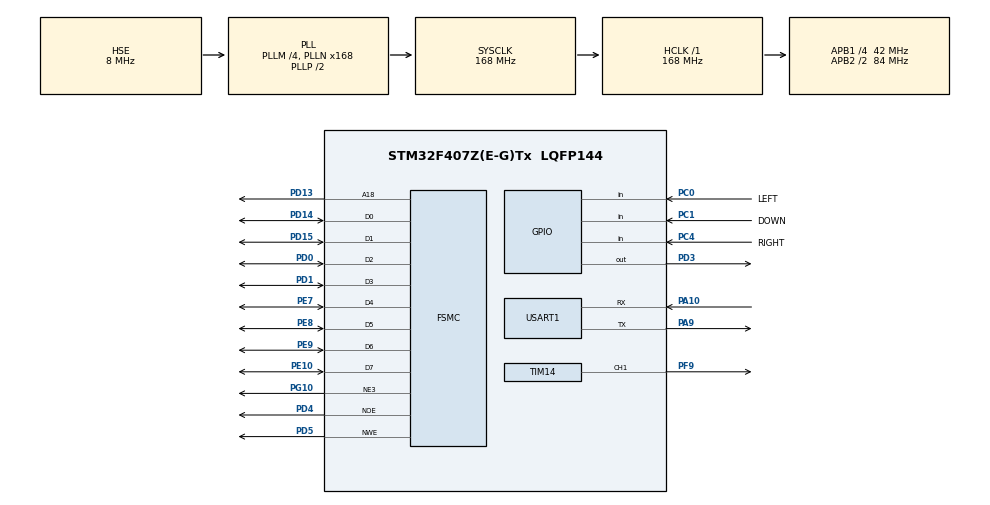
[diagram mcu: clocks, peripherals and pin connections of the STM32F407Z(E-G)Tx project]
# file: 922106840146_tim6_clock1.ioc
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FSMC.BusTurnAroundDuration3=0
FSMC.DataSetupTime3=60
FSMC.ExtendedAddressSetupTime3=9
FSMC.ExtendedBusTurnAroundDuration3=0
FSMC.ExtendedDataSetupTime3=8
FSMC.ExtendedMode3=FSMC_EXTENDED_MODE_ENABLE
Mcu.Family=STM32F4
Mcu.Name=STM32F407Z(E-G)Tx
Mcu.Package=LQFP144
NVIC.PriorityGroup=NVIC_PRIORITYGROUP_4
NVIC.TIM6_DAC_IRQn=true\:7\:0\:true\:false\:true\:true\:true\:true
NVIC.TIM7_IRQn=true\:7\:0\:true\:false\:true\:true\:true\:true
PA10.Mode=Asynchronous
PA10.Signal=USART1_RX
PA9.Mode=Asynchronous
PA9.Signal=USART1_TX
PC0.GPIO_Label=LEFT
PC0.GPIO_PuPd=GPIO_PULLUP
PC0.Signal=GPIO_Input
PC1.GPIO_Label=DOWN
PC1.GPIO_PuPd=GPIO_PULLUP
PC1.Signal=GPIO_Input
PC14-OSC32_IN.Mode=LSE-External-Oscillator
PC14-OSC32_IN.Signal=RCC_OSC32_IN
PC15-OSC32_OUT.Mode=LSE-External-Oscillator
PC15-OSC32_OUT.Signal=RCC_OSC32_OUT
PC4.GPIO_Label=RIGHT
PC4.GPIO_PuPd=GPIO_PULLUP
PC4.Signal=GPIO_Input
PD0.Signal=FSMC_D2_DA2
PD1.Signal=FSMC_D3_DA3
PD13.Signal=FSMC_A18
PD14.Signal=FSMC_D0_DA0
PD15.Signal=FSMC_D1_DA1
PD3.GPIO_ModeDefaultOutputPP=GPIO_MODE_OUTPUT_PP
PD3.GPIO_PuPd=GPIO_PULLUP
PD3.GPIO_Speed=GPIO_SPEED_FREQ_MEDIUM
PD3.PinState=GPIO_PIN_SET
PD3.Signal=GPIO_Output
PD4.Signal=FSMC_NOE
PD5.Signal=FSMC_NWE
PE10.Signal=FSMC_D7_DA7
PE7.Signal=FSMC_D4_DA4
PE8.Signal=FSMC_D5_DA5
PE9.Signal=FSMC_D6_DA6
PF9.Signal=S_TIM14_CH1
PG10.Mode=NorPsramChipSelect3_3
PG10.Signal=FSMC_NE3
PH0-OSC_IN.Mode=HSE-External-Oscillator
PH0-OSC_IN.Signal=RCC_OSC_IN
PH1-OSC_OUT.Mode=HSE-External-Oscillator
PH1-OSC_OUT.Signal=RCC_OSC_OUT
ProjectManager.HeapSize=0x200
ProjectManager.StackSize=0x400
ProjectManager.TargetToolchain=MDK-ARM V5.32
RCC.48MHZClocksFreq_Value=84000000
RCC.AHBFreq_Value=168000000
RCC.APB1CLKDivider=RCC_HCLK_DIV4
RCC.APB1Freq_Value=42000000
RCC.APB1TimFreq_Value=84000000
RCC.APB2CLKDivider=RCC_HCLK_DIV2
RCC.APB2Freq_Value=84000000
RCC.APB2TimFreq_Value=168000000
RCC.CortexFreq_Value=168000000
RCC.HCLKFreq_Value=168000000
RCC.HSE_VALUE=8000000
RCC.HSI_VALUE=16000000
RCC.PLLM=4
RCC.PLLN=168
RCC.PLLSourceVirtual=RCC_PLLSOURCE_HSE
RCC.SYSCLKFreq_VALUE=168000000
RCC.SYSCLKSource=RCC_SYSCLKSOURCE_PLLCLK
RCC.VCOOutputFreq_Value=336000000
SH.FSMC_A18.0=FSMC_A18,A18_3
SH.FSMC_D0_DA0.0=FSMC_D0,8b-d3
SH.FSMC_D1_DA1.0=FSMC_D1,8b-d3
SH.FSMC_D2_DA2.0=FSMC_D2,8b-d3
SH.FSMC_D3_DA3.0=FSMC_D3,8b-d3
SH.FSMC_D4_DA4.0=FSMC_D4,8b-d3
SH.FSMC_D5_DA5.0=FSMC_D5,8b-d3
SH.FSMC_D6_DA6.0=FSMC_D6,8b-d3
SH.FSMC_D7_DA7.0=FSMC_D7,8b-d3
SH.FSMC_NOE.0=FSMC_NOE,Lcd3
SH.FSMC_NWE.0=FSMC_NWE,Lcd3
SH.S_TIM14_CH1.0=TIM14_CH1,PWM Generation1 CH1
TIM14.Channel=TIM_CHANNEL_1
TIM14.Period=4000-1
TIM14.Prescaler=21-1
TIM14.Pulse=3200
TIM6.Period=10000-1
TIM6.Prescaler=8400-1
TIM7.Period=1000-1
TIM7.Prescaler=84-1
USART1.VirtualMode=VM_ASYNC
VP_TIM14_VS_ClockSourceINT.Mode=Enable_Timer
VP_TIM6_VS_ClockSourceINT.Mode=Enable_Timer
VP_TIM7_VS_ClockSourceINT.Mode=Enable_Timer
board=custom

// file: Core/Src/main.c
/* USER CODE BEGIN Header */
/**
  ******************************************************************************
  * @file           : main.c
  * @brief          : Main program body
  ******************************************************************************
  * @attention
  *
  * Copyright (c) 2025 STMicroelectronics.
  * All rights reserved.
  *
  * This software is licensed under terms that can be found in the LICENSE file
  * in the root directory of this software component.
  * If no LICENSE file comes with this software, it is provided AS-IS.
  *
  ******************************************************************************
  */
/* USER CODE END Header */
#include "main.h"
#include "tim.h"
#include "usart.h"
#include "gpio.h"
#include "fsmc.h"

/* USER CODE BEGIN Includes */
#include "stdio.h"
//#include "stdlib.h"
#include "./BSP/LCD/drv_lcd.h"
#include "./BSP/LCD/rttlogo.h"
/* USER CODE END Includes */

void SystemClock_Config(void);

/* USER CODE BEGIN 0 */
volatile uint8_t g_hour = 8, g_min = 10, g_sec = 0;
volatile uint8_t g_key_flag = 0;
/* ??????? */
typedef struct {
  uint8_t debounce_cnt;   // ?????
  uint8_t stable_state;   // ????
  uint8_t last_state;     // ????
} KeyState;

KeyState keys[3] = {0};  // [0]?? [1]?? [2]??
// fprintf()???
int fputc(int ch, FILE *f)
{
	HAL_UART_Transmit(&huart1, (uint8_t *)&ch, 1, 1000);
	return ch;
}

void HAL_TIM_PeriodElapsedCallback(TIM_HandleTypeDef *htim)
{
    /* TIM6 1??? */
    if (htim->Instance == TIM6) {
        if(++g_sec >= 60){
            g_sec = 0;
            if(++g_min >= 60){
                g_min = 0;
                if(++g_hour >= 24) g_hour = 0;
            }
        }
    }
		if (htim->Instance == TIM7) {
        const uint16_t pins[3] = {LEFT_Pin, DOWN_Pin, RIGHT_Pin};

        for(int i=0; i<3; i++) {
            uint8_t current = HAL_GPIO_ReadPin(GPIOC, pins[i]);

            if(current == GPIO_PIN_RESET) {
                if(keys[i].debounce_cnt < 2) {
                    keys[i].debounce_cnt++;
                    if(keys[i].debounce_cnt == 2) { // ??2??????(20ms??)
                        if(keys[i].stable_state == 0) {
                            keys[i].stable_state = 1;
                            g_key_flag |= (1 << i);  // ????????
                        }
                    }
                }
            }
            else {
                keys[i].debounce_cnt = 0;
                keys[i].stable_state = 0;
            }
        }
    }
}
/* USER CODE END 0 */

int main(void)
{

  /* MCU Configuration--------------------------------------------------------*/

  /* Reset of all peripherals, Initializes the Flash interface and the Systick. */
  HAL_Init();

  /* Configure the system clock */
  SystemClock_Config();

  /* Initialize all configured peripherals */
  MX_GPIO_Init();
  MX_FSMC_Init();
  MX_TIM14_Init();
  MX_USART1_UART_Init();
  MX_TIM6_Init();
  MX_TIM7_Init();
  /* USER CODE BEGIN 2 */
  HAL_TIM_Base_Start_IT(&htim14);
	HAL_TIM_PWM_Start(&htim14, TIM_CHANNEL_1);
	HAL_TIM_Base_Start_IT(&htim6);
	HAL_TIM_Base_Start_IT(&htim7);
	drv_lcd_init();		// ???LCD
	char time_str[20];
  /* USER CODE END 2 */

  /* Infinite loop */
  while (1)
  {

    /* USER CODE BEGIN 3 */
		printf("hello world!\n");

		lcd_clear(WHITE);
		/* show RT-Thread logo */
		//lcd_show_image(0, 0, 240, 69, image_rttlogo);
		/* set the background color and foreground color */
		lcd_set_color(WHITE, BLACK);
		/* show some string on lcd */
		if(g_key_flag){
        if(g_key_flag & 0x01){  // ??????
            g_hour = (g_hour + 1) % 24;
        }
        if(g_key_flag & 0x02){  // ??????
            g_min = (g_min + 1) % 60;
        }
        if(g_key_flag & 0x04){  // ?????
            g_sec = (g_sec + 1) % 60;
        }
        g_key_flag = 0;
    }

    /* ??LCD?? */
    sprintf(time_str, "%02d:%02d:%02d", g_hour, g_min, g_sec);
    lcd_show_string(0, 0, 32, time_str);
		HAL_Delay(200);
  }
  /* USER CODE END 3 */
}

void SystemClock_Config(void)
{
  RCC_OscInitTypeDef RCC_OscInitStruct = {0};
  RCC_ClkInitTypeDef RCC_ClkInitStruct = {0};

  /** Configure the main internal regulator output voltage
  */
  __HAL_RCC_PWR_CLK_ENABLE();
  __HAL_PWR_VOLTAGESCALING_CONFIG(PWR_REGULATOR_VOLTAGE_SCALE1);

  /** Initializes the RCC Oscillators according to the specified parameters
  * in the RCC_OscInitTypeDef structure.
  */
  RCC_OscInitStruct.OscillatorType = RCC_OSCILLATORTYPE_HSE;
  RCC_OscInitStruct.HSEState = RCC_HSE_ON;
  RCC_OscInitStruct.PLL.PLLState = RCC_PLL_ON;
  RCC_OscInitStruct.PLL.PLLSource = RCC_PLLSOURCE_HSE;
  RCC_OscInitStruct.PLL.PLLM = 4;
  RCC_OscInitStruct.PLL.PLLN = 168;
  RCC_OscInitStruct.PLL.PLLP = RCC_PLLP_DIV2;
  RCC_OscInitStruct.PLL.PLLQ = 4;
  if (HAL_RCC_OscConfig(&RCC_OscInitStruct) != HAL_OK)
  {
    Error_Handler();
  }

  /** Initializes the CPU, AHB and APB buses clocks
  */
  RCC_ClkInitStruct.ClockType = RCC_CLOCKTYPE_HCLK|RCC_CLOCKTYPE_SYSCLK
                              |RCC_CLOCKTYPE_PCLK1|RCC_CLOCKTYPE_PCLK2;
  RCC_ClkInitStruct.SYSCLKSource = RCC_SYSCLKSOURCE_PLLCLK;
  RCC_ClkInitStruct.AHBCLKDivider = RCC_SYSCLK_DIV1;
  RCC_ClkInitStruct.APB1CLKDivider = RCC_HCLK_DIV4;
  RCC_ClkInitStruct.APB2CLKDivider = RCC_HCLK_DIV2;

  if (HAL_RCC_ClockConfig(&RCC_ClkInitStruct, FLASH_LATENCY_5) != HAL_OK)
  {
    Error_Handler();
  }
}

void Error_Handler(void)
{
  __disable_irq();
  while (1)
  {
  }
}
